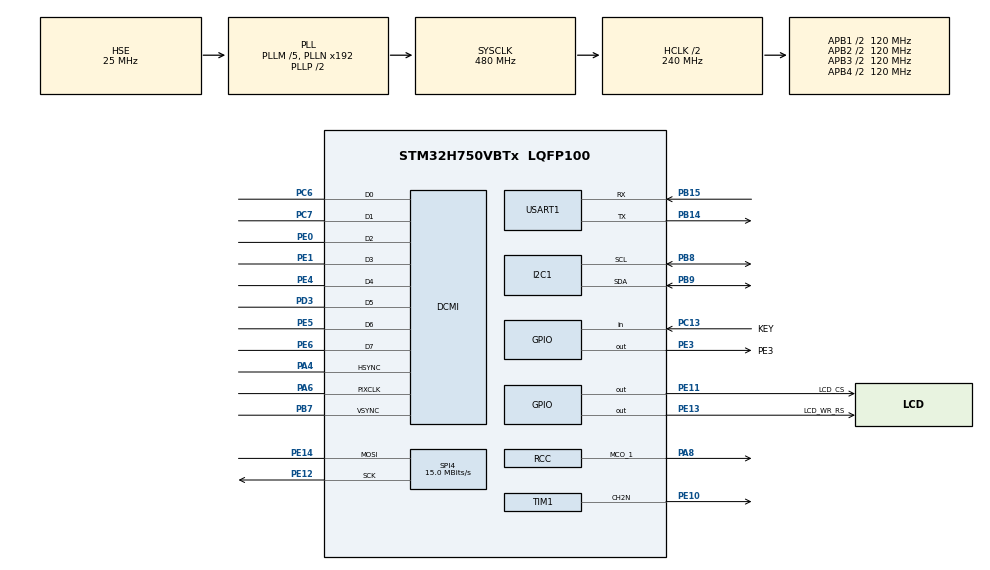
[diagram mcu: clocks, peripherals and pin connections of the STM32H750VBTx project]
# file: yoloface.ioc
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CORTEX_M7.CPU_DCache=Enabled
CORTEX_M7.CPU_ICache=Enabled
DCMI.PCKPolarity=DCMI_PCKPOLARITY_RISING
Dma.DCMI.0.Direction=DMA_PERIPH_TO_MEMORY
Dma.DCMI.0.EventEnable=DISABLE
Dma.DCMI.0.FIFOMode=DMA_FIFOMODE_DISABLE
Dma.DCMI.0.Instance=DMA1_Stream0
Dma.DCMI.0.MemDataAlignment=DMA_MDATAALIGN_WORD
Dma.DCMI.0.MemInc=DMA_MINC_ENABLE
Dma.DCMI.0.Mode=DMA_CIRCULAR
Dma.DCMI.0.PeriphDataAlignment=DMA_PDATAALIGN_WORD
Dma.DCMI.0.PeriphInc=DMA_PINC_DISABLE
Dma.DCMI.0.Polarity=HAL_DMAMUX_REQ_GEN_RISING
Dma.DCMI.0.Priority=DMA_PRIORITY_LOW
Dma.DCMI.0.RequestNumber=1
Dma.DCMI.0.SignalID=NONE
Dma.DCMI.0.SyncEnable=DISABLE
Dma.DCMI.0.SyncPolarity=HAL_DMAMUX_SYNC_NO_EVENT
Dma.DCMI.0.SyncRequestNumber=1
Dma.DCMI.0.SyncSignalID=NONE
Dma.Request0=DCMI
I2C1.I2C_Fall_Time=10
I2C1.I2C_Rise_Time=100
I2C1.Timing=0x40805E8A
Mcu.Family=STM32H7
Mcu.Name=STM32H750VBTx
Mcu.Package=LQFP100
NVIC.DCMI_IRQn=true\:0\:0\:false\:false\:true\:true\:true
NVIC.DMA1_Stream0_IRQn=true\:0\:0\:false\:false\:true\:false\:true
NVIC.PriorityGroup=NVIC_PRIORITYGROUP_4
NVIC.TIM16_IRQn=true\:0\:0\:true\:false\:true\:true\:true
PA13\ (JTMS/SWDIO).Mode=Serial_Wire
PA13\ (JTMS/SWDIO).Signal=DEBUG_JTMS-SWDIO
PA14\ (JTCK/SWCLK).Mode=Serial_Wire
PA14\ (JTCK/SWCLK).Signal=DEBUG_JTCK-SWCLK
PA4.Mode=Slave_8_bits_External_Synchro
PA4.Signal=DCMI_HSYNC
PA6.Mode=Slave_8_bits_External_Synchro
PA6.Signal=DCMI_PIXCLK
PA8.GPIO_Speed=GPIO_SPEED_FREQ_HIGH
PA8.Mode=Clock-out-1
PA8.Signal=RCC_MCO_1
PB14.Mode=Asynchronous
PB14.Signal=USART1_TX
PB15.Mode=Asynchronous
PB15.Signal=USART1_RX
PB7.Mode=Slave_8_bits_External_Synchro
PB7.Signal=DCMI_VSYNC
PB8.GPIO_Pu=GPIO_PULLUP
PB8.Mode=I2C
PB8.Signal=I2C1_SCL
PB9.GPIO_Pu=GPIO_PULLUP
PB9.Mode=I2C
PB9.Signal=I2C1_SDA
PC13.GPIO_Label=KEY
PC13.GPIO_PuPd=GPIO_PULLDOWN
PC13.Signal=GPIO_Input
PC14-OSC32_IN\ (OSC32_IN).Mode=LSE-External-Oscillator
PC14-OSC32_IN\ (OSC32_IN).Signal=RCC_OSC32_IN
PC15-OSC32_OUT\ (OSC32_OUT).Mode=LSE-External-Oscillator
PC15-OSC32_OUT\ (OSC32_OUT).Signal=RCC_OSC32_OUT
PC6.Mode=Slave_8_bits_External_Synchro
PC6.Signal=DCMI_D0
PC7.Mode=Slave_8_bits_External_Synchro
PC7.Signal=DCMI_D1
PD3.Mode=Slave_8_bits_External_Synchro
PD3.Signal=DCMI_D5
PE0.Mode=Slave_8_bits_External_Synchro
PE0.Signal=DCMI_D2
PE1.Mode=Slave_8_bits_External_Synchro
PE1.Signal=DCMI_D3
PE10.Mode=PWM Generation2 CH2N
PE10.Signal=TIM1_CH2N
PE11.GPIO_Label=LCD_CS
PE11.GPIO_Speed=GPIO_SPEED_FREQ_VERY_HIGH
PE11.PinState=GPIO_PIN_SET
PE11.Signal=GPIO_Output
PE12.GPIO_Speed=GPIO_SPEED_FREQ_HIGH
PE12.Mode=Simplex_Bidirectional_Master
PE12.Signal=SPI4_SCK
PE13.GPIO_Label=LCD_WR_RS
PE13.GPIO_Speed=GPIO_SPEED_FREQ_VERY_HIGH
PE13.PinState=GPIO_PIN_SET
PE13.Signal=GPIO_Output
PE14.GPIO_Speed=GPIO_SPEED_FREQ_HIGH
PE14.Mode=Simplex_Bidirectional_Master
PE14.Signal=SPI4_MOSI
PE3.GPIO_Label=PE3
PE3.Signal=GPIO_Output
PE4.Mode=Slave_8_bits_External_Synchro
PE4.Signal=DCMI_D4
PE5.Mode=Slave_8_bits_External_Synchro
PE5.Signal=DCMI_D6
PE6.Mode=Slave_8_bits_External_Synchro
PE6.Signal=DCMI_D7
PH0-OSC_IN\ (PH0).Mode=HSE-External-Oscillator
PH0-OSC_IN\ (PH0).Signal=RCC_OSC_IN
PH1-OSC_OUT\ (PH1).Mode=HSE-External-Oscillator
PH1-OSC_OUT\ (PH1).Signal=RCC_OSC_OUT
ProjectManager.HeapSize=0x64000
ProjectManager.StackSize=0x800
ProjectManager.TargetToolchain=MDK-ARM V5.32
RCC.ADCFreq_Value=50390625
RCC.APB1CLKDivider=RCC_HCLK_DIV4
RCC.APB1Freq_Value=120000000
RCC.APB2CLKDivider=RCC_HCLK_DIV2
RCC.APB2Freq_Value=120000000
RCC.APB3Freq_Value=120000000
RCC.APB4Freq_Value=120000000
RCC.CortexFreq_Value=480000000
RCC.D1PPRE=RCC_APB3_DIV2
RCC.D2PPRE1=RCC_APB1_DIV2
RCC.D2PPRE2=RCC_APB2_DIV2
RCC.D3PPRE=RCC_APB4_DIV2
RCC.DIVM1=5
RCC.DIVN1=192
RCC.DIVQ1=20
RCC.HCLKFreq_Value=240000000
RCC.HPRE=RCC_HCLK_DIV2
RCC.HSE_VALUE=25000000
RCC.PLLM=25
RCC.PLLMUL=RCC_PLL_MUL9
RCC.PLLN=432
RCC.PLLQ=9
RCC.PLLSourceVirtual=RCC_PLLSOURCE_HSE
RCC.PRESCALERUSB=RCC_USBCLKSOURCE_PLL_DIV1_5
RCC.PWR_Regulator_Voltage_Scale=PWR_REGULATOR_VOLTAGE_SCALE0
RCC.RCC_MCO1Source=RCC_MCO1SOURCE_HSI48
RCC.RCC_MCODiv1=RCC_MCODIV_4
RCC.SYSCLKFreq_VALUE=480000000
RCC.SYSCLKSource=RCC_SYSCLKSOURCE_PLLCLK
RCC.SYSCLKSourceVirtual=RCC_SYSCLKSOURCE_PLLCLK
RCC.USBFreq_Value=48000000
SPI4.BaudRatePrescaler=SPI_BAUDRATEPRESCALER_8
SPI4.CalculateBaudRate=15.0 MBits/s
SPI4.DataSize=SPI_DATASIZE_8BIT
SPI4.Direction=SPI_DIRECTION_1LINE
SPI4.Mode=SPI_MODE_MASTER
SPI4.VirtualType=VM_MASTER
STMicroelectronics.X-CUBE-AI.7.1.0.ActivationBufferSizeList=56895
STMicroelectronics.X-CUBE-AI.7.1.0.ActivationBuffers=pool0
STMicroelectronics.X-CUBE-AI.7.1.0.ActivationNames=pool0
STMicroelectronics.X-CUBE-AI.7.1.0.ActivationSizes=AI_YOLOFACE_DATA_ACTIVATION_1_SIZE
STMicroelectronics.X-CUBE-AI.7.1.0.HeapSize=0x64000
STMicroelectronics.X-CUBE-AI.7.1.0.InternalRamActivationBufferMaxSize=AI_YOLOFACE_DATA_ACTIVATIONS_SIZE
STMicroelectronics.X-CUBE-AI.7.1.0.LatestDirectoryUsed-3c6e71c3d181c8cba3cb142f795485ac5e2ebcb340cf0048eb81087abd8a77f4=F\:\\Git_repository\\others_project\\yoloface-50k\\tflite
STMicroelectronics.X-CUBE-AI.7.1.0.MaximumNumberOfInputLayer=1
STMicroelectronics.X-CUBE-AI.7.1.0.MaximumNumberOfOutputLayer=1
STMicroelectronics.X-CUBE-AI.7.1.0.MaximumSizeOfInputLayer=AI_YOLOFACE_IN_1_SIZE_BYTES
STMicroelectronics.X-CUBE-AI.7.1.0.MaximumSizeOfOutputLayer=AI_YOLOFACE_OUT_1_SIZE_BYTES
STMicroelectronics.X-CUBE-AI.7.1.0.ModelActualCompression-3c6e71c3d181c8cba3cb142f795485ac5e2ebcb340cf0048eb81087abd8a77f4=0.0
STMicroelectronics.X-CUBE-AI.7.1.0.ModelCompression-3c6e71c3d181c8cba3cb142f795485ac5e2ebcb340cf0048eb81087abd8a77f4=1
STMicroelectronics.X-CUBE-AI.7.1.0.ModelFlashOccupation-3c6e71c3d181c8cba3cb142f795485ac5e2ebcb340cf0048eb81087abd8a77f4=73524
STMicroelectronics.X-CUBE-AI.7.1.0.ModelHashList=3c6e71c3d181c8cba3cb142f795485ac5e2ebcb340cf0048eb81087abd8a77f4
STMicroelectronics.X-CUBE-AI.7.1.0.ModelKind-3c6e71c3d181c8cba3cb142f795485ac5e2ebcb340cf0048eb81087abd8a77f4=TFLITE
STMicroelectronics.X-CUBE-AI.7.1.0.ModelMacc-3c6e71c3d181c8cba3cb142f795485ac5e2ebcb340cf0048eb81087abd8a77f4=1344320
STMicroelectronics.X-CUBE-AI.7.1.0.ModelName-3c6e71c3d181c8cba3cb142f795485ac5e2ebcb340cf0048eb81087abd8a77f4=yoloface
STMicroelectronics.X-CUBE-AI.7.1.0.ModelNameList=yoloface
STMicroelectronics.X-CUBE-AI.7.1.0.ModelRamOccupation-3c6e71c3d181c8cba3cb142f795485ac5e2ebcb340cf0048eb81087abd8a77f4=56895
STMicroelectronics.X-CUBE-AI.7.1.0.ModelStructureFile-3c6e71c3d181c8cba3cb142f795485ac5e2ebcb340cf0048eb81087abd8a77f4=/F\:/Git_repository/others_project/yoloface-50k/tflite/yoloface_int8.tflite
STMicroelectronics.X-CUBE-AI.7.1.0.ModelType-3c6e71c3d181c8cba3cb142f795485ac5e2ebcb340cf0048eb81087abd8a77f4=STM32Cube.AI runtime
STMicroelectronics.X-CUBE-AI.7.1.0.ReadyForCodeGeneration=true
STMicroelectronics.X-CUBE-AI.7.1.0.StackSize=0x800
STMicroelectronics.X-CUBE-AI.7.1.0.WorkingBufferStartAddrList=0xFFFFFFFF
STMicroelectronics.X-CUBE-AI.7.1.0.XAaCUBEAaAICcArtificialOoIntelligenceJjCore=true
TIM1.Channel-PWM\ Generation2\ CH2N=TIM_CHANNEL_2
TIM1.OCNPolarity_2=TIM_OCNPOLARITY_LOW
TIM1.Period=1000-1
TIM1.Prescaler=12-1
TIM16.Period=100-1
TIM16.Prescaler=120-1
USART1.VirtualMode-Asynchronous=VM_ASYNC
VP_CRC_VS_CRC.Mode=CRC_Activate
VP_STMicroelectronics.X-CUBE-AI_VS_ArtificialOoIntelligenceJjXAaCUBEAaAI_7.1.0.Mode=ArtificialOoIntelligenceJjXAaCUBEAaAI
VP_TIM16_VS_ClockSourceINT.Mode=Enable_Timer
board=custom

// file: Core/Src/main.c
/* USER CODE BEGIN Header */
/**
  ******************************************************************************
  * @file           : main.c
  * @brief          : Main program body
  ******************************************************************************
  * @attention
  *
  * <h2><center>&copy; Copyright (c) 2020 STMicroelectronics.
  * All rights reserved.</center></h2>
  *
  * This software component is licensed by ST under BSD 3-Clause license,
  * the "License"; You may not use this file except in compliance with the
  * License. You may obtain a copy of the License at:
  *                        opensource.org/licenses/BSD-3-Clause
  *
  ******************************************************************************
  */
/* USER CODE END Header */
#include "main.h"
#include "crc.h"
#include "dcmi.h"
#include "dma.h"
#include "i2c.h"
#include "spi.h"
#include "tim.h"
#include "usart.h"
#include "gpio.h"

/* USER CODE BEGIN Includes */
#include <stdio.h>
#include <stdlib.h>
#include <time.h>
#include <math.h>
#include <string.h>
#include "camera.h"
#include "lcd.h"

#include "yoloface.h"
#include "yoloface_data.h"

//#include "yoloface_nn.h"
/* USER CODE END Includes */

/* USER CODE BEGIN PV */
// picture buffer
uint16_t pic[FrameWidth][FrameHeight];
uint32_t DCMI_FrameIsReady;
uint32_t Camera_FPS = 0;

ai_i8 activations[AI_YOLOFACE_DATA_ACTIVATIONS_SIZE];
ai_i8 in_data[AI_YOLOFACE_IN_1_SIZE_BYTES];
ai_i8 out_data[AI_YOLOFACE_OUT_1_SIZE_BYTES];

/* AI buffer IO handlers */
ai_buffer *ai_input;
ai_buffer *ai_output;

// �������������������������
ai_u8 x1, y1, x2, y2;
// yoloface��anchor�ߴ�
int8_t anchors[3][2] = {{9, 14}, {12, 17}, {22, 21}};

/* USER CODE END PV */

void SystemClock_Config(void);

/* USER CODE BEGIN 0 */

int fputc(int ch, FILE *stream)
{
    while((USART1->ISR & 0X40) == 0);
    USART1->TDR = (uint8_t) ch;
    return ch;
}

static void MPU_Config(void)
{
	MPU_Region_InitTypeDef MPU_InitStruct = { 0 };

	/* Disables the MPU */
	HAL_MPU_Disable();

	/* Configure the MPU attributes for the QSPI 256MB without instruction access */
	MPU_InitStruct.Enable = MPU_REGION_ENABLE;
	MPU_InitStruct.Number = MPU_REGION_NUMBER0;
	MPU_InitStruct.BaseAddress = QSPI_BASE;
	MPU_InitStruct.Size = MPU_REGION_SIZE_256MB;
	MPU_InitStruct.AccessPermission = MPU_REGION_NO_ACCESS;
	MPU_InitStruct.IsBufferable = MPU_ACCESS_NOT_BUFFERABLE;
	MPU_InitStruct.IsCacheable = MPU_ACCESS_NOT_CACHEABLE;
	MPU_InitStruct.IsShareable = MPU_ACCESS_NOT_SHAREABLE;
	MPU_InitStruct.DisableExec = MPU_INSTRUCTION_ACCESS_DISABLE;
	MPU_InitStruct.TypeExtField = MPU_TEX_LEVEL1;
	MPU_InitStruct.SubRegionDisable = 0x00;
	HAL_MPU_ConfigRegion(&MPU_InitStruct);

	/* Configure the MPU attributes for the QSPI 8MB (QSPI Flash Size) to Cacheable WT */
	MPU_InitStruct.Enable = MPU_REGION_ENABLE;
	MPU_InitStruct.Number = MPU_REGION_NUMBER1;
	MPU_InitStruct.BaseAddress = QSPI_BASE;
	MPU_InitStruct.Size = MPU_REGION_SIZE_8MB;
	MPU_InitStruct.AccessPermission = MPU_REGION_PRIV_RO;
	MPU_InitStruct.IsBufferable = MPU_ACCESS_BUFFERABLE;
	MPU_InitStruct.IsCacheable = MPU_ACCESS_CACHEABLE;
	MPU_InitStruct.IsShareable = MPU_ACCESS_NOT_SHAREABLE;
	MPU_InitStruct.DisableExec = MPU_INSTRUCTION_ACCESS_ENABLE;
	MPU_InitStruct.TypeExtField = MPU_TEX_LEVEL1;
	MPU_InitStruct.SubRegionDisable = 0x00;
	HAL_MPU_ConfigRegion(&MPU_InitStruct);

	/* Setup AXI SRAM in Cacheable WB */
	MPU_InitStruct.Enable = MPU_REGION_ENABLE;
	MPU_InitStruct.BaseAddress = D1_AXISRAM_BASE;
	MPU_InitStruct.Size = MPU_REGION_SIZE_512KB;
	MPU_InitStruct.AccessPermission = MPU_REGION_FULL_ACCESS;
	MPU_InitStruct.IsBufferable = MPU_ACCESS_BUFFERABLE;
	MPU_InitStruct.IsCacheable = MPU_ACCESS_CACHEABLE;
	MPU_InitStruct.IsShareable = MPU_ACCESS_SHAREABLE;
	MPU_InitStruct.Number = MPU_REGION_NUMBER2;
	MPU_InitStruct.TypeExtField = MPU_TEX_LEVEL1;
	MPU_InitStruct.SubRegionDisable = 0x00;
	MPU_InitStruct.DisableExec = MPU_INSTRUCTION_ACCESS_ENABLE;
	HAL_MPU_ConfigRegion(&MPU_InitStruct);

	/* Enables the MPU */
	HAL_MPU_Enable(MPU_PRIVILEGED_DEFAULT);
}

static void CPU_CACHE_Enable(void)
{
	/* Enable I-Cache */
	SCB_EnableICache();

	/* Enable D-Cache */
	SCB_EnableDCache();
}

void LED_Blink(uint32_t Hdelay, uint32_t Ldelay)
{
	HAL_GPIO_WritePin(PE3_GPIO_Port, PE3_Pin, GPIO_PIN_SET);
	HAL_Delay(Hdelay - 1);
	HAL_GPIO_WritePin(PE3_GPIO_Port, PE3_Pin, GPIO_PIN_RESET);
	HAL_Delay(Ldelay - 1);
}

//����sigmoid����
double sigmoid(double x)
{
	double y = 1/(1+expf((-1)*x));
	return y;
}

int32_t ST7735_DrawRect(ST7735_Object_t *pObj, uint32_t Xpos, uint32_t Ypos, uint32_t Width, uint32_t Height, uint32_t Color)
{
	ST7735_DrawHLine(&st7735_pObj,Xpos,Ypos,Width,Color);
	ST7735_DrawVLine(&st7735_pObj,Xpos,Ypos,Height,Color);
	ST7735_DrawHLine(&st7735_pObj,Xpos,Ypos+Height,Width,Color);
	ST7735_DrawVLine(&st7735_pObj,Xpos+Width,Ypos,Height,Color);
}

/* USER CODE END 0 */

int main(void)
{
  /* USER CODE BEGIN 1 */
	ai_handle network = AI_HANDLE_NULL;
    ai_error err;
    ai_network_report report;
	const ai_handle acts[] = { activations };

#ifdef W25Qxx
	SCB->VTOR = QSPI_BASE;
#endif
	MPU_Config();
	CPU_CACHE_Enable();

  /* USER CODE END 1 */

  /* Enable I-Cache---------------------------------------------------------*/
  SCB_EnableICache();

  /* Enable D-Cache---------------------------------------------------------*/
  SCB_EnableDCache();

  /* MCU Configuration--------------------------------------------------------*/

  /* Reset of all peripherals, Initializes the Flash interface and the Systick. */
  HAL_Init();

  /* Configure the system clock */
  SystemClock_Config();

  /* Initialize all configured peripherals */
  MX_GPIO_Init();
  MX_DMA_Init();
  MX_DCMI_Init();
  MX_I2C1_Init();
  MX_SPI4_Init();
  MX_TIM1_Init();
  MX_TIM16_Init();
  MX_CRC_Init();
  MX_USART1_UART_Init();
  /* USER CODE BEGIN 2 */
	uint8_t text[32];
	LCD_Init_Device();
#ifdef TFT96
//	Camera_Init_Device(&hi2c1, FRAMESIZE_QQVGA);
	Camera_Init_Device(&hi2c1, FRAMESIZE_YOLO);
#elif TFT18
	Camera_Init_Device(&hi2c1, FRAMESIZE_QQVGA2);
#endif
	sprintf((char*)&text, "Camera id:0x%x   ", hcamera.device_id);
	LCD_ShowString(0, 58, ST7735Ctx.Width, 16, 12, text);
	LED_Blink(5, 500);
	//clean Ypos 58
	ST7735_LCD_Driver.FillRect(&st7735_pObj, 0, 58, ST7735Ctx.Width, 16, BLACK);

	//startup camera
	HAL_DCMI_Start_DMA(&hdcmi, DCMI_MODE_CONTINUOUS, (uint32_t)&pic, FrameWidth * FrameHeight * 2 / 4);
	printf("Camera Start\r\n");

    /** @brief Initialize network */
    err = ai_yoloface_create_and_init(&network, acts, NULL);
    if (err.type != AI_ERROR_NONE)
	{
        printf("ai init_and_create error\n");
        return -1;
    }
    /** @brief {optional} for debug/log purpose */
    if (ai_yoloface_get_report(network, &report) != true)
	{
        printf("ai get report error\n");
        return -1;
    }
    printf("Model name      : %s\r\n", report.model_name);
    printf("Model signature : %s\r\n", report.model_signature);
    ai_input = &report.inputs[0];
    ai_output = &report.outputs[0];
    printf("input[0] : (%d, %d, %d)\r\n", AI_BUFFER_SHAPE_ELEM(ai_input, AI_SHAPE_HEIGHT),
                                        AI_BUFFER_SHAPE_ELEM(ai_input, AI_SHAPE_WIDTH),
                                        AI_BUFFER_SHAPE_ELEM(ai_input, AI_SHAPE_CHANNEL));
    printf("output[0] : (%d, %d, %d)\r\n", AI_BUFFER_SHAPE_ELEM(ai_output, AI_SHAPE_HEIGHT),
                                         AI_BUFFER_SHAPE_ELEM(ai_output, AI_SHAPE_WIDTH),
                                         AI_BUFFER_SHAPE_ELEM(ai_output, AI_SHAPE_CHANNEL));

  /* USER CODE END 2 */

  /* Infinite loop */
  /* USER CODE BEGIN WHILE */
	while (1)
	{
		/** @brief Perform inference */
		ai_i32 n_batch;

		int32_t grid_x=0;
		int32_t grid_y=0;
		double x=0;
		double y=0;
		double w=0;
		double h=0;

		if (DCMI_FrameIsReady)
		{
			DCMI_FrameIsReady = 0;

			/* ǰ���� */
			/** @brief Normalize, convert and/or quantize inputs if necessary... */
			for(uint8_t i = 0; i < 56; i++)
			{
				for(uint8_t j = 0; j < 56; j++)
				{
					uint16_t color = (*pic)[j+i*56];
					in_data[(j+i*56)*3] = (ai_i8)((color&0xF800)>>9) - 128;
					in_data[(j+i*56)*3+1] = (ai_i8)((color&0x07E0)>>3) - 128;
					in_data[(j+i*56)*3+2] = (ai_i8)((color&0x001F)<<3) - 128;
				}
			}

			HAL_DCMI_Resume(&hdcmi);

			/** @brief Create the AI buffer IO handlers
			 *  @note  ai_inuput/ai_output are already initilaized after the
			 *         ai_network_get_report() call. This is just here to illustrate
			 *         the case where get_report() is not called.
			 */
			ai_input = ai_yoloface_inputs_get(network, NULL);
			ai_output = ai_yoloface_outputs_get(network, NULL);

			/** @brief Set input/output buffer addresses */
			ai_input[0].data = AI_HANDLE_PTR(in_data);
			ai_output[0].data = AI_HANDLE_PTR(out_data);

			/** @brief Perform the inference */
			n_batch = ai_yoloface_run(network, &ai_input[0], &ai_output[0]);
			if (n_batch != 1)
			{
				err = ai_yoloface_get_error(network);
				printf("ai run error %d, %d\n", err.type, err.code);
				return -1;
			}

			for(uint8_t i = 0; i < 49; i++)
			{
				for(uint8_t j = 0; j < 3; j++)
				{
					ai_i8 conf = out_data[i*18+j*6+4];
					// 网络输出维度是1*7*7*18
					// 其中18维度包含了每个像素预测的三个锚框，每个锚框对应6个维度，依次为x y w h conf class
					// 当然因为这个网络是单类检测，所以class这一维度没有用
					// 这里的-9是根据网络量化的缩放偏移量计算的，对应的是70%的置信度
					// sigmoid((conf+15)*0.14218327403068542) < 0.7 ==> conf > -9
					if(conf > -9)
					{
						grid_x = i % 7;
						grid_y = (i - grid_x)/7;
						// 这里的15和0.14218327403068542就是网络量化后给出的缩放偏移量
						x = ((double)out_data[i*18+j*6]+15)*0.14218327403068542f;
						y = ((double)out_data[i*18+j*6+1]+15)*0.14218327403068542f;
						w = ((double)out_data[i*18+j*6+2]+15)*0.14218327403068542f;
						h = ((double)out_data[i*18+j*6+3]+15)*0.14218327403068542f;
						printf("Get original num:%lf,%lf,%lf,%lf\r\n",x,y,w,h);
						// 网络下采样三次，缩小了8倍，这里给还原回56*56的尺度
						x = (sigmoid(x)+(double)grid_x) * 8;
						y = (sigmoid(y)+(double)grid_y) * 8;
						w = expf(w) * anchors[j][0];
						h = expf(h) * anchors[j][1];

						x1=(ai_u8)(x - (w/2));
						y1=(ai_u8)(y - (h/2));
						x2=(ai_u8)(x + (w/2));
						y2=(ai_u8)(y + (h/2));

//						if(x1 < 0)
//							x1 = 0;
//						if(y1 < 0)
//							y1 = 0;
//						if(x2 > 55)
//							x2 = 55;
//						if(y2 > 55)
//							y2 = 55;

						printf("Find Face in [%d, %d]\r\nW: %d,H: %d\r\n\r\n",(ai_i8)x1, (ai_i8)y1, (ai_i8)w, (ai_i8)h);
					}
				}
			}
    /* USER CODE END WHILE */

    /* USER CODE BEGIN 3 */
#ifdef TFT96
//			ST7735_FillRGBRect(&st7735_pObj, 0, 0, (uint8_t*)&pic[20][0], ST7735Ctx.Width, 80);
//			ST7735_FillRGBRect(&st7735_pObj, 0, 0, (uint8_t*)&pic[0][0], ST7735Ctx.Width, 80);
			ST7735_DrawRect(&st7735_pObj, x1, y1, w, h, RED);
			ST7735_FillRGBRect(&st7735_pObj, 0, 0, (uint8_t*)&pic[0][0], 56, 56);

//			ST7735_FillRGBRect(&st7735_pObj, 0, 0, (uint8_t*)&pic[0][0], 56, 56);
//			ST7735_DrawRect(&st7735_pObj, x1, y1, w, h, RED);
#elif TFT18
			ST7735_FillRGBRect(&st7735_pObj, 0, 0, (uint8_t*)&pic[0][0], ST7735Ctx.Width, ST7735Ctx.Height);
#endif

//			printf("%dFPS\r\n", Camera_FPS);
//			LED_Blink(1, 1);
		}
	}
  /* USER CODE END 3 */
}

void SystemClock_Config(void)
{
  RCC_OscInitTypeDef RCC_OscInitStruct = {0};
  RCC_ClkInitTypeDef RCC_ClkInitStruct = {0};

  /** Supply configuration update enable
  */
  HAL_PWREx_ConfigSupply(PWR_LDO_SUPPLY);
  /** Configure the main internal regulator output voltage
  */
  __HAL_PWR_VOLTAGESCALING_CONFIG(PWR_REGULATOR_VOLTAGE_SCALE0);

  while(!__HAL_PWR_GET_FLAG(PWR_FLAG_VOSRDY)) {}
  /** Initializes the RCC Oscillators according to the specified parameters
  * in the RCC_OscInitTypeDef structure.
  */
  RCC_OscInitStruct.OscillatorType = RCC_OSCILLATORTYPE_HSI48|RCC_OSCILLATORTYPE_HSE;
  RCC_OscInitStruct.HSEState = RCC_HSE_ON;
  RCC_OscInitStruct.HSI48State = RCC_HSI48_ON;
  RCC_OscInitStruct.PLL.PLLState = RCC_PLL_ON;
  RCC_OscInitStruct.PLL.PLLSource = RCC_PLLSOURCE_HSE;
  RCC_OscInitStruct.PLL.PLLM = 5;
  RCC_OscInitStruct.PLL.PLLN = 192;
  RCC_OscInitStruct.PLL.PLLP = 2;
  RCC_OscInitStruct.PLL.PLLQ = 20;
  RCC_OscInitStruct.PLL.PLLR = 2;
  RCC_OscInitStruct.PLL.PLLRGE = RCC_PLL1VCIRANGE_2;
  RCC_OscInitStruct.PLL.PLLVCOSEL = RCC_PLL1VCOWIDE;
  RCC_OscInitStruct.PLL.PLLFRACN = 0;
  if (HAL_RCC_OscConfig(&RCC_OscInitStruct) != HAL_OK)
  {
    Error_Handler();
  }
  /** Initializes the CPU, AHB and APB buses clocks
  */
  RCC_ClkInitStruct.ClockType = RCC_CLOCKTYPE_HCLK|RCC_CLOCKTYPE_SYSCLK
                              |RCC_CLOCKTYPE_PCLK1|RCC_CLOCKTYPE_PCLK2
                              |RCC_CLOCKTYPE_D3PCLK1|RCC_CLOCKTYPE_D1PCLK1;
  RCC_ClkInitStruct.SYSCLKSource = RCC_SYSCLKSOURCE_PLLCLK;
  RCC_ClkInitStruct.SYSCLKDivider = RCC_SYSCLK_DIV1;
  RCC_ClkInitStruct.AHBCLKDivider = RCC_HCLK_DIV2;
  RCC_ClkInitStruct.APB3CLKDivider = RCC_APB3_DIV2;
  RCC_ClkInitStruct.APB1CLKDivider = RCC_APB1_DIV2;
  RCC_ClkInitStruct.APB2CLKDivider = RCC_APB2_DIV2;
  RCC_ClkInitStruct.APB4CLKDivider = RCC_APB4_DIV2;

  if (HAL_RCC_ClockConfig(&RCC_ClkInitStruct, FLASH_LATENCY_4) != HAL_OK)
  {
    Error_Handler();
  }
  HAL_RCC_MCOConfig(RCC_MCO1, RCC_MCO1SOURCE_HSI48, RCC_MCODIV_4);
}

/* USER CODE BEGIN 4 */

void HAL_DCMI_FrameEventCallback(DCMI_HandleTypeDef* hdcmi)
{
	static uint32_t count = 0, tick = 0;

	if (HAL_GetTick() - tick >= 1000)
	{
		tick = HAL_GetTick();
		Camera_FPS = count;
		count = 0;
	}
	count++;

	DCMI_FrameIsReady = 1;
	HAL_DCMI_Suspend(hdcmi);
}

/* USER CODE END 4 */

void Error_Handler(void)
{
  /* USER CODE BEGIN Error_Handler_Debug */
	/* User can add his own implementation to report the HAL error return state */
	while (1)
	{
		LED_Blink(5, 250);
	}
  /* USER CODE END Error_Handler_Debug */
}
